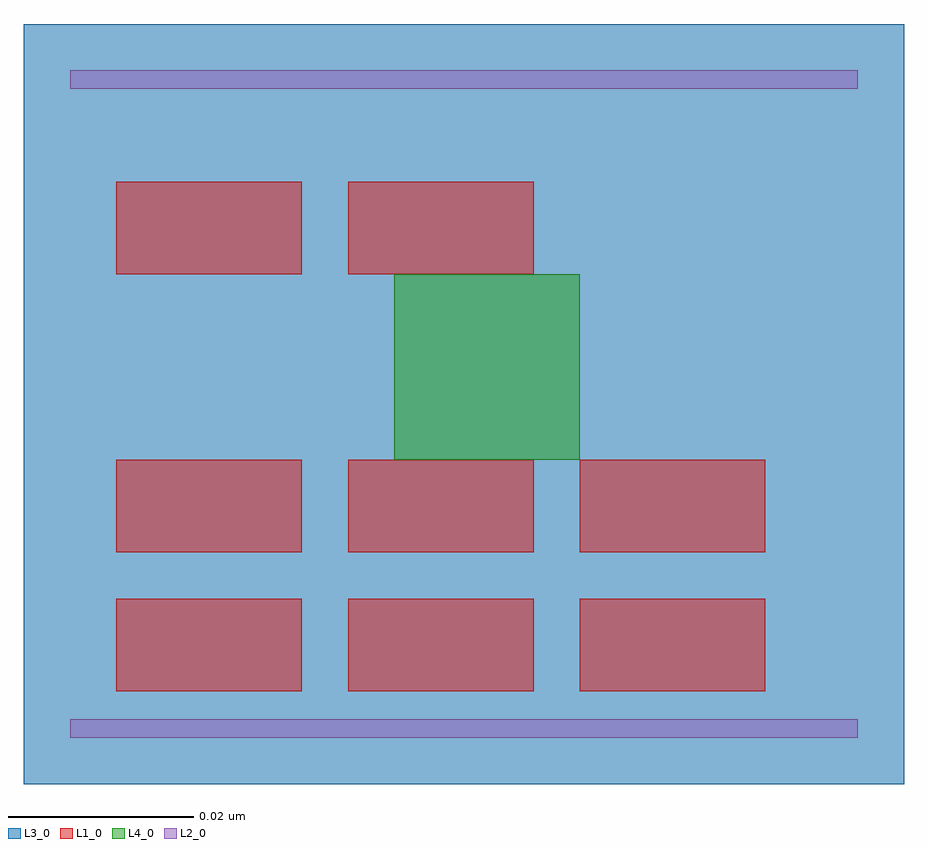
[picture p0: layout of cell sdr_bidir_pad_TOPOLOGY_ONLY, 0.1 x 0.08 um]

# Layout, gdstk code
import gdstk
lib = gdstk.Library(unit=1e-6, precision=1e-09)
def R(c, l, rs):  # rectangles x0, y0, x1, y1
    for r in rs: c.add(gdstk.rectangle(r[:2], r[2:], *l))
def A(c, l, x, y, w, h, nx, ny, dx, dy):  # array of equal rectangles
    R(c, l, [(x+i*dx, y+j*dy, x+i*dx+w, y+j*dy+h) for i in range(nx) for j in range(ny)])
L1_0 = (1, 0)
L2_0 = (2, 0)
L3_0 = (3, 0)
L4_0 = (4, 0)

sdr_bidir_pad_topology_o = lib.new_cell('sdr_bidir_pad_TOPOLOGY_ONLY')
A(sdr_bidir_pad_topology_o, L1_0, 0, 0, 0.02, 0.01, 3, 2, 0.025, 0.015)
R(sdr_bidir_pad_topology_o, L1_0, [(0,0.045,0.02,0.055), (0.025,0.045,0.045,0.055)])
R(sdr_bidir_pad_topology_o, L2_0, [(-0.005,-0.005,0.08,-0.003), (-0.005,0.065,0.08,0.067)])
A(sdr_bidir_pad_topology_o, L3_0, 0, 0.03, 0.02, 0.01, 3, 1, 0.025, 0)
R(sdr_bidir_pad_topology_o, L3_0, [(-0.01,-0.01,0.085,0.072)])
R(sdr_bidir_pad_topology_o, L4_0, [(0.03,0.025,0.05,0.045)])
sdr_bidir_pad_topology_o.add(gdstk.Label('TOPOLOGY ONLY / NOT DRC CLEAN / SIZES TBD', (0,-0.02), layer=5, texttype=0))

lib.write_gds('sdr_bidir_pad_TOPOLOGY_ONLY.gds')
